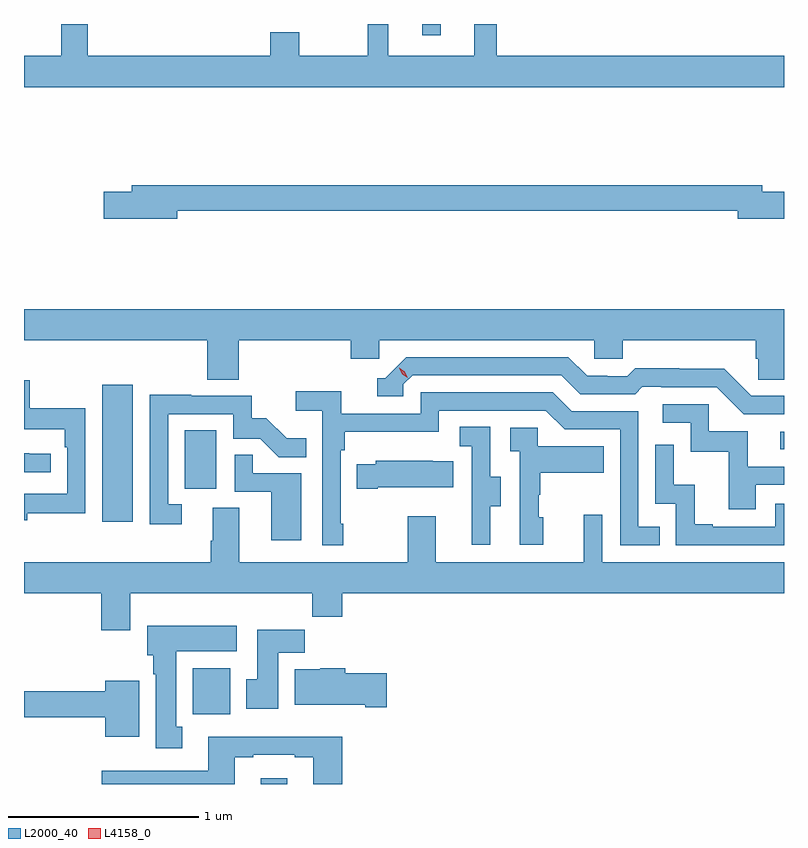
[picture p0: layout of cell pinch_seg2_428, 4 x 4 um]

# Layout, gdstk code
import gdstk
lib = gdstk.Library(unit=1e-6, precision=1e-09)
def R(c, l, rs):  # rectangles x0, y0, x1, y1
    for r in rs: c.add(gdstk.rectangle(r[:2], r[2:], *l))
def P(c, l, *ps):  # polygons
    for p in ps: c.add(gdstk.Polygon(p, *l))
L2000_40 = (2000, 40)
L4158_0 = (4158, 0)

pinch_seg2_428 = lib.new_cell('pinch_seg2_428')
R(pinch_seg2_428, L2000_40, [(913.415,605.34,913.555,605.371), (913.058,605.708,913.255,605.95), (912.581,606.72,912.742,607.441), (913.016,606.894,913.18,607.201), (916.149,607.101,916.169,607.194), (914.265,609.282,914.362,609.34)])
P(pinch_seg2_428, L2000_40, [(916.169,609.172),(914.657,609.172),(914.657,609.34),(914.54,609.34),(914.54,609.172),(914.087,609.172),(914.087,609.34),(913.977,609.34),(913.977,609.172),(913.617,609.172),(913.617,609.296),(913.465,609.296),(913.465,609.172),(912.505,609.172),(912.505,609.34),(912.365,609.34),(912.365,609.172),(912.169,609.172),(912.169,609.008),(916.169,609.008)],
  [(912.976,608.356),(915.926,608.356),(915.926,608.314),(916.169,608.314),(916.169,608.456),(916.054,608.456),(916.054,608.492),(912.737,608.492),(912.737,608.456),(912.588,608.456),(912.588,608.314),(912.976,608.314)],
  [(913.298,607.676),(913.889,607.676),(913.889,607.578),(914.04,607.578),(914.04,607.676),(915.171,607.676),(915.171,607.578),(915.321,607.578),(915.321,607.676),(916.019,607.676),(916.019,607.578),(916.033,607.578),(916.033,607.468),(916.169,607.468),(916.169,607.84),(912.169,607.84),(912.169,607.676),(913.133,607.676),(913.133,607.468),(913.298,607.468)],
  [(916.169,607.383),(915.996,607.383),(915.854,607.525),(915.618,607.525),(915.618,607.528),(915.385,607.528),(915.343,607.485),(915.24,607.485),(915.24,607.488),(915.133,607.488),(915.034,607.587),(914.181,607.587),(914.07,607.476),(914.027,607.476),(914.027,607.38),(914.166,607.38),(914.166,607.443),(914.214,607.491),(914.997,607.491),(915.096,607.392),(915.385,607.392),(915.424,607.431),(915.523,607.431),(915.523,607.428),(915.816,607.428),(915.957,607.287),(916.169,607.287)],
  [(912.187,606.766),(912.492,606.766),(912.492,607.318),(912.199,607.318),(912.199,607.464),(912.169,607.464),(912.169,607.208),(912.383,607.208),(912.383,607.112),(912.396,607.112),(912.396,606.867),(912.169,606.867),(912.169,606.728),(912.187,606.728)],
  [(913.849,606.709),(913.836,606.709),(913.836,607.097),(913.856,607.097),(913.856,607.193),(914.352,607.193),(914.352,607.305),(914.916,607.305),(915.015,607.206),(915.306,607.206),(915.306,606.597),(915.515,606.597),(915.515,606.693),(915.402,606.693),(915.402,607.302),(915.052,607.302),(914.953,607.401),(914.256,607.401),(914.256,607.29),(913.838,607.29),(913.838,607.406),(913.599,607.406),(913.599,607.304),(913.74,607.304),(913.74,606.597),(913.849,606.597)],
  [(913,606.813),(912.927,606.813),(912.927,607.287),(913.269,607.287),(913.269,607.158),(913.413,607.158),(913.511,607.06),(913.655,607.06),(913.655,607.159),(913.551,607.159),(913.444,607.266),(913.368,607.266),(913.368,607.383),(913.049,607.383),(913.049,607.388),(912.831,607.388),(912.831,606.708),(913,606.708)],
  [(916.021,606.915),(916.169,606.915),(916.169,607.011),(915.979,607.011),(915.979,607.197),(915.774,607.197),(915.774,607.338),(915.531,607.338),(915.531,607.242),(915.678,607.242),(915.678,607.089),(915.877,607.089),(915.877,606.786),(916.021,606.786)],
  [(914.623,606.802),(914.677,606.802),(914.677,606.957),(914.622,606.957),(914.622,607.22),(914.463,607.22),(914.463,607.117),(914.526,607.117),(914.526,606.813),(914.525,606.813),(914.525,606.6),(914.623,606.6)],
  [(914.902,606.744),(914.877,606.744),(914.877,606.863),(914.887,606.863),(914.887,606.977),(915.221,606.977),(915.221,607.117),(914.874,607.117),(914.874,607.215),(914.727,607.215),(914.727,607.091),(914.778,607.091),(914.778,606.6),(914.902,606.6)],
  [(916.169,606.816),(916.122,606.816),(916.122,606.693),(915.793,606.693),(915.793,606.706),(915.698,606.706),(915.698,606.914),(915.588,606.914),(915.588,607.126),(915.492,607.126),(915.492,606.816),(915.6,606.816),(915.6,606.597),(916.169,606.597)],
  [(912.31,607.077),(912.197,607.077),(912.197,607.082),(912.169,607.082),(912.169,606.981),(912.31,606.981)],
  [(913.627,606.975),(913.373,606.975),(913.373,607.073),(913.278,607.073),(913.278,606.879),(913.469,606.879),(913.469,606.624),(913.627,606.624)],
  [(914.032,606.902),(914.429,606.902),(914.429,607.039),(914.321,607.039),(914.321,607.042),(914.019,607.042),(914.019,607.024),(913.921,607.024),(913.921,606.895),(914.032,606.895)],
  [(912.727,606.344),(913.687,606.344),(913.687,606.22),(913.844,606.22),(913.844,606.344),(916.169,606.344),(916.169,606.508),(915.213,606.508),(915.213,606.757),(915.116,606.757),(915.116,606.508),(914.335,606.508),(914.335,606.748),(914.188,606.748),(914.188,606.508),(913.303,606.508),(913.303,606.794),(913.163,606.794),(913.163,606.62),(913.151,606.62),(913.151,606.508),(912.169,606.508),(912.169,606.344),(912.575,606.344),(912.575,606.15),(912.727,606.15)],
  [(913.003,605.642),(912.97,605.642),(912.97,606.038),(913.288,606.038),(913.288,606.172),(912.818,606.172),(912.818,606.018),(912.848,606.018),(912.848,605.918),(912.863,605.918),(912.863,605.529),(913.003,605.529)],
  [(913.507,606.032),(913.646,606.032),(913.646,606.151),(913.397,606.151),(913.397,605.892),(913.34,605.892),(913.34,605.736),(913.507,605.736)],
  [(914.077,605.922),(913.859,605.922),(913.859,605.95),(913.728,605.95),(913.728,605.944),(913.595,605.944),(913.595,605.756),(913.964,605.756),(913.964,605.744),(914.077,605.744)],
  [(912.775,605.884),(912.596,605.884),(912.596,605.828),(912.169,605.828),(912.169,605.692),(912.596,605.692),(912.596,605.588),(912.775,605.588)],
  [(913.279,605.481),(913.375,605.481),(913.375,605.493),(913.595,605.493),(913.595,605.481),(913.691,605.481),(913.691,605.34),(913.844,605.34),(913.844,605.59),(913.139,605.59),(913.139,605.409),(912.579,605.409),(912.579,605.34),(913.279,605.34)])
P(pinch_seg2_428, L4158_0, [(914.189,607.477),(914.159,607.497),(914.143,607.529),(914.143,607.53),(914.144,607.53),(914.174,607.51),(914.19,607.477),(914.19,607.477)])

lib.write_gds('pinch_seg2_428.gds')
